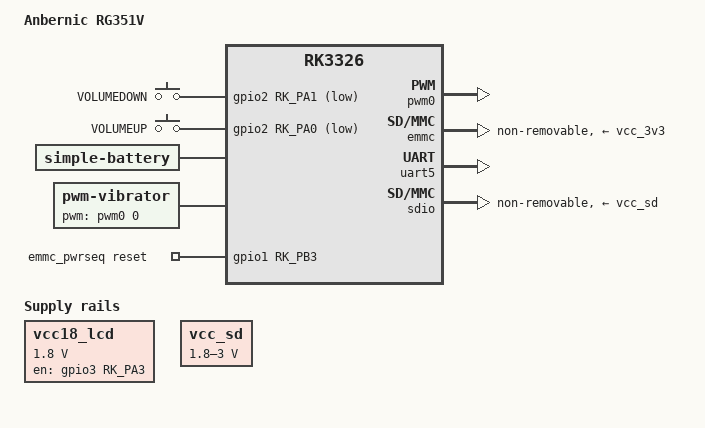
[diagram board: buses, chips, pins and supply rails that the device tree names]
// SPDX-License-Identifier: (GPL-2.0+ OR MIT)
/*
 * Copyright (c) 2019 Hardkernel Co., Ltd
 * Copyright (c) 2020 Theobroma Systems Design und Consulting GmbH
 * Copyright (c) 2022 Maya Matuszczyk <maccraft123mc@gmail.com>
 */

/dts-v1/;
#include "rk3326-odroid-go.dtsi"

/ {
	model = "Anbernic RG351V";
	compatible = "anbernic,rg351v", "rockchip,rk3326";

       aliases {
               mmc0 = &sdio;
               mmc1 = &sdmmc;
               mmc2 = &emmc;
       };

        gpio-keys-vol {
                compatible = "gpio-keys";
                autorepeat;
                pinctrl-0 = <&btn_pins_vol>;
                pinctrl-names = "default";

                button-vol-down {
                        gpios = <&gpio2 RK_PA1 GPIO_ACTIVE_LOW>;
                        label = "VOLUMEDOWN";
                        linux,code = <KEY_VOLUMEDOWN>;
                };

                button-volume-up {
                        gpios = <&gpio2 RK_PA0 GPIO_ACTIVE_LOW>;
                        label = "VOLUMEUP";
                        linux,code = <KEY_VOLUMEUP>;
                };
        };

        battery: battery {
               compatible = "simple-battery";
               charge-full-design-microamp-hours = <3500000>;
               charge-term-current-microamp = <350000>;
               constant-charge-current-max-microamp = <2000000>;
               constant-charge-voltage-max-microvolt = <4200000>;
               factory-internal-resistance-micro-ohms = <180000>;
               voltage-max-design-microvolt = <4100000>;
               voltage-min-design-microvolt = <3500000>;

               ocv-capacity-celsius = <20>;
               ocv-capacity-table-0 =  <4046950 100>, <4001920 95>, <3967900 90>, <3919950 85>,
                                       <3888450 80>, <3861850 75>, <3831540 70>, <3799130 65>,
                                       <3768190 60>, <3745650 55>, <3726610 50>, <3711630 45>,
                                       <3696720 40>, <3685660 35>, <3674950 30>, <3663050 25>,
                                       <3649470 20>, <3635260 15>, <3616920 10>, <3592440 5>,
                                       <3574170 0>;
       };

	vibrator {
		compatible = "pwm-vibrator";
		pwms = <&pwm0 0 1000000 0>;
		pwm-names = "enable";
	};

	emmc_pwrseq: mmc-pwrseq {
		compatible = "mmc-pwrseq-emmc";
		reset-gpios = <&gpio1 RK_PB3 GPIO_ACTIVE_HIGH>;
	};

	vcc18_lcd: regulator-vcc18-lcd {
		compatible = "regulator-fixed";
		regulator-name = "vcc18_lcd";
		regulator-min-microvolt = <1800000>;
		regulator-max-microvolt = <1800000>;
		gpio = <&gpio3 RK_PA3 GPIO_ACTIVE_HIGH>;
		enable-active-high;
	};
};

/* conflicts with pwm vibration motor */
/delete-node/ &vcc_host;

/* Device only has 1 LED compared to Odroid Go Advance */
/delete-node/ &gpio_led;

&internal_display {
	compatible = "anbernic,rg351v-panel", "sitronix,st7703";
	reset-gpios = <&gpio3 RK_PD3 GPIO_ACTIVE_LOW>;
	vcc-supply = <&vcc_lcd>;
	iovcc-supply = <&vcc18_lcd>;
};

&io_domains {
	vccio1-supply = <&vccio_sd>;
};

/delete-node/ &pwm_led;

&pwm0 {
	status = "okay";
};

/delete-node/ &pwm3;

/* sfc_clk and emmc_clk both use GPIO1_B1 — disable SFC to free the pin for eMMC */
&sfc {
	status = "disabled";
};

&emmc {
	status = "okay";
	no-sdio;
	no-sd;
	disable-wp;
	non-removable;
	num-slots = <1>;
	vmmc-supply = <&vcc_3v3>;
	vqmmc-supply = <&vcc_1v8>;
	mmc-pwrseq = <&emmc_pwrseq>;
};

&uart5 {
	pinctrl-names = "default";
	pinctrl-0 = <&uart5_xfer>;
	status = "okay";
};

&rk817_charger {
       /* This device does not have a current sense resistor */
       rockchip,resistor-sense-micro-ohms = <0>;
       monitored-battery = <&battery>;
};

&sdio {
	/* rk915 SDIO WiFi — non-removable, no UHS tuning */
	non-removable;
	cap-sdio-irq;
	sd-uhs-sdr12;
	sd-uhs-sdr25;
	supports-rk912;
	vmmc-supply = <&vcc_sd>;
	vqmmc-supply = <&vccio_sd>;
	status = "okay";
};

&vcc_sd {
	regulator-max-microvolt = <3000000>;
	regulator-min-microvolt = <1800000>;
};

&vccio_sd {
	regulator-max-microvolt = <1800000>;
};

&pinctrl {
        btns {
                btn_pins_vol: btn-pins-vol {
                        rockchip,pins = <2 RK_PA0 RK_FUNC_GPIO &pcfg_pull_up>,
                                        <2 RK_PA1 RK_FUNC_GPIO &pcfg_pull_up>;
                };
        };
};
